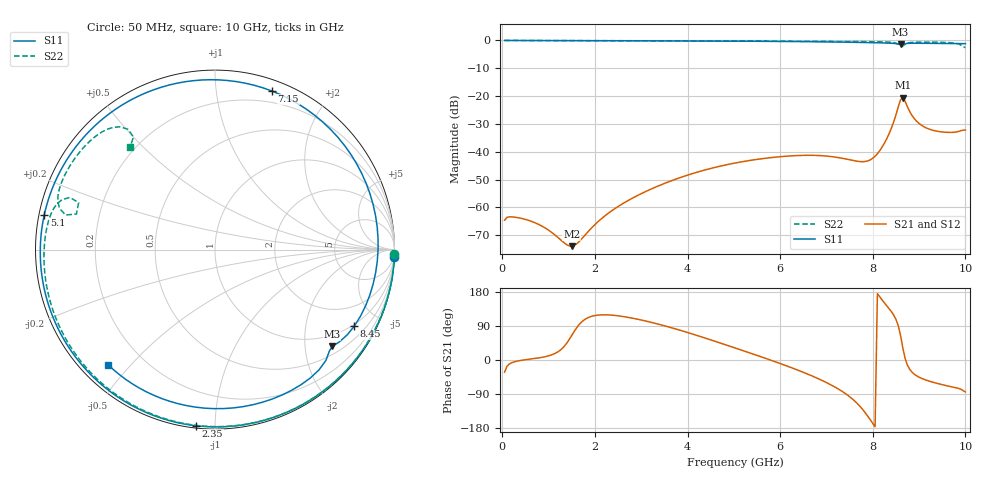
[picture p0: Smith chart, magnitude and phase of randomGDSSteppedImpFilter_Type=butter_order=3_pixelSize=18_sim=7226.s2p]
! freq	dB(S11)	phase(S11)	dB(S12)	phase(S12)
!  dB(S21)	phase(S21)	dB(S22)	phase(S22)
!S-par simulation data
#  GHz  S  DB  R 50
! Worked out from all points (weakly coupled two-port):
!   200 points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, 50 MHz to 10 GHz, reference 50 ohm
!   highest |S21| = -20.55 dB at 8.65 GHz (marker M1); lowest = -73.9 dB at 1.5 GHz (marker M2)
!   lowest |S11| = -1.4 dB at 8.6 GHz (marker M3), VSWR 12.02, Z = 34.5 - j131 ohm
!   |S11| at or under -10 dB: nowhere
!   |S22| runs from -2.6 to 0.0 dB; largest |S21 - S12| = 0
!   S11 on the Smith chart (normalised r, x): 50 MHz: 0, -52; 2.35 GHz: 0.01, -0.90; 5.1 GHz: 0.02, +0.10; 7.15 GHz: 0.10, +1.42; 8.45 GHz: 0.93, -3.67; 10 GHz: 0.08, -0.44
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0.05  -0.00 -2.2  -64.59 -32.0  -64.59 -32.0  -0.00 -1.3
0.65  -0.03 -28.4  -65.13 3.2  -65.13 3.2  -0.02 -16.7
1.5  -0.08 -63.6  -73.92 64.9  -73.92 64.9  -0.05 -38.0
1.75  -0.09 -73.5  -70.62 104.2  -70.62 104.2  -0.06 -44.1
2.35  -0.11 -96.1  -61.35 118.5  -61.35 118.5  -0.07 -58.6
3.4  -0.16 -133.0  -52.06 93.6  -52.06 93.6  -0.11 -82.9
4.25  -0.20 -161.7  -47.12 63.0  -47.12 63.0  -0.14 -101.7
5.05  -0.25 170.3  -43.97 30.9  -43.97 30.9  -0.18 -118.8
5.1  -0.26 168.4  -43.81 28.8  -43.81 28.8  -0.18 -119.9
5.9  -0.34 136.6  -41.92 -4.9  -41.92 -4.9  -0.23 -136.7
6.7  -0.46 97.3  -41.28 -42.7  -41.28 -42.7  -0.29 -153.7
7.15  -0.55 70.2  -41.82 -69.1  -41.82 -69.1  -0.34 -163.5
7.9  -0.76 15.9  -43.23 -149.6  -43.23 -149.6  -0.43 179.3
8.1  -0.83 -0.1  -40.70 175.1  -40.70 175.1  -0.47 174.3
8.35  -0.96 -20.5  -33.59 136.0  -33.59 136.0  -0.60 167.2
8.45  -1.06 -28.8  -29.33 119.0  -29.33 119.0  -0.76 163.8
8.6  -1.45 -39.6  -21.31 64.8  -21.31 64.8  -1.90 161.0
8.65  -1.39 -41.6  -20.55 31.1  -20.55 31.1  -1.97 165.6
8.85  -0.99 -57.5  -27.02 -32.4  -27.02 -32.4  -0.68 161.2
9.1  -1.02 -76.4  -30.96 -50.8  -30.96 -50.8  -0.59 152.9
9.8  -1.13 -121.5  -32.89 -73.3  -32.89 -73.3  -1.04 129.9
10  -1.15 -132.7  -32.19 -84.4  -32.19 -84.4  -2.60 129.7
